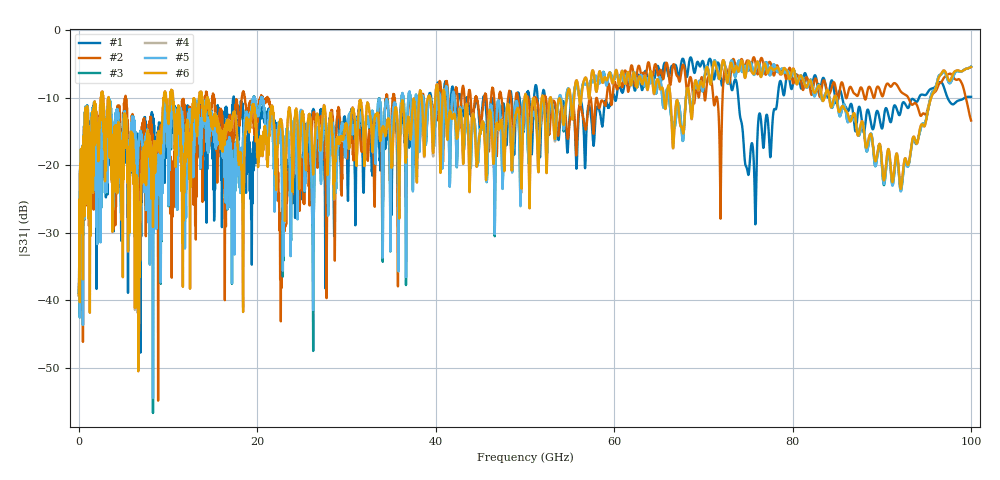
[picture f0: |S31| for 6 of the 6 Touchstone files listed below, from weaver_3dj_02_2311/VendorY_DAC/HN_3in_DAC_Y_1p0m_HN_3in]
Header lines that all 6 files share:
# GHz S RI R 45
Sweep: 25 MHz to 100 GHz
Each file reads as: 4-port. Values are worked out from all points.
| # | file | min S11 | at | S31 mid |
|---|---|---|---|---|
| 1 | HN_3in_DAC_Y_1p0m_HN_3in_FEXT_TP0_Tx5_to_TP5_Rx7.s4p | -44.8 dB | 31.95 GHz | -11.5 dB at 50.02 GHz |
| 2 | HN_3in_DAC_Y_1p0m_HN_3in_FEXT_TP0_Tx6_to_TP5_Rx7.s4p | -44.3 dB | 6.725 GHz | -11.3 dB at 50.02 GHz |
| 3 | HN_3in_DAC_Y_1p0m_HN_3in_FEXT_TP0_Tx8_to_TP5_Rx7.s4p | -43.4 dB | 13.65 GHz | -11.0 dB at 50.02 GHz |
| 4 | HN_3in_DAC_Y_1p0m_HN_3in_NEXT_TP0_Tx7_to_TP5_Rx7.s4p | -45.6 dB | 5.675 GHz | -9.7 dB at 50.02 GHz |
| 5 | HN_3in_DAC_Y_1p0m_HN_3in_NEXT_TP0_Tx8_to_TP5_Tx7.s4p | -48.0 dB | 12.88 GHz | -11.0 dB at 50.02 GHz |
| 6 | HN_3in_DAC_Y_1p0m_HN_3in_thru_TP0_Tx7_to_TP5_Rx7.s4p | -45.4 dB | 5.675 GHz | -9.7 dB at 50.02 GHz |
